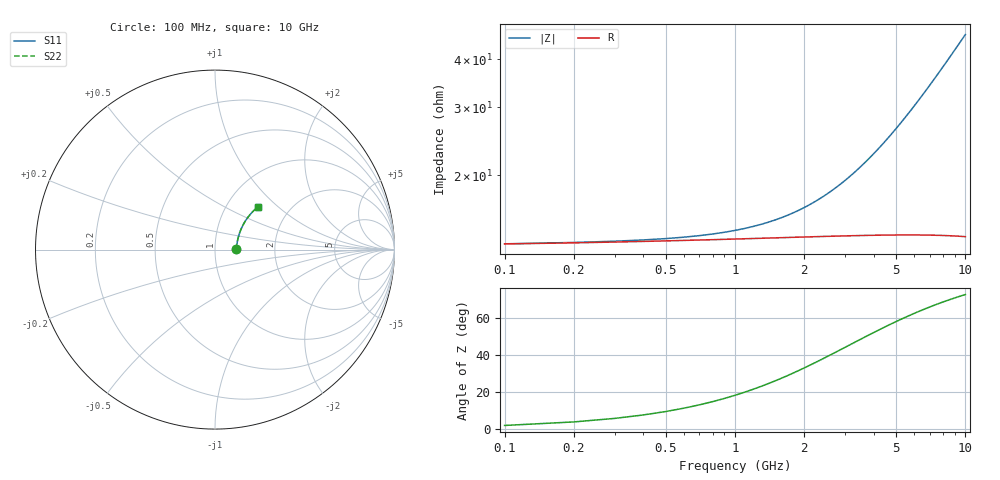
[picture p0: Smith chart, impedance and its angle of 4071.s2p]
# Hz S RI R 50.00
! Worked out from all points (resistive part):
!   100 points, 100 MHz to 10 GHz, reference 50 ohm
!   read as one part in series: R = 13.3 ohm at 100 MHz
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1e8  0.1173 0.00291  0.8827 -0.00409  0.8827 -0.00409  0.1173 0.00291
6e8  0.1199 0.0174  0.88 -0.0244  0.88 -0.0244  0.1199 0.0174
8e8  0.1208 0.0231  0.8791 -0.0325  0.8791 -0.0325  0.1208 0.0231
1e9  0.1217 0.0288  0.8782 -0.0406  0.8782 -0.0406  0.1217 0.0288
1.2e9  0.1226 0.0346  0.8772 -0.0486  0.8772 -0.0486  0.1226 0.0346
1.4e9  0.1236 0.0402  0.8762 -0.0566  0.8762 -0.0566  0.1236 0.0402
1.8e9  0.1259 0.0515  0.8739 -0.0726  0.8739 -0.0726  0.1259 0.0515
2.1e9  0.1278 0.0599  0.8719 -0.0846  0.8719 -0.0846  0.1278 0.0599
2.4e9  0.1298 0.0683  0.8697 -0.0964  0.8697 -0.0964  0.1298 0.0683
3.4e9  0.1382 0.0955  0.8609 -0.1354  0.8609 -0.1354  0.1382 0.0955
4.3e9  0.1476 0.1191  0.851 -0.1696  0.851 -0.1696  0.1476 0.1191
5.1e9  0.1574 0.1393  0.8406 -0.1991  0.8406 -0.1991  0.1574 0.1393
5.5e9  0.1628 0.149  0.8349 -0.2136  0.8349 -0.2136  0.1628 0.149
5.9e9  0.1685 0.1585  0.8289 -0.2278  0.8289 -0.2278  0.1685 0.1585
6.3e9  0.1746 0.1677  0.8225 -0.2417  0.8225 -0.2417  0.1746 0.1677
6.7e9  0.1809 0.1767  0.8158 -0.2554  0.8158 -0.2554  0.1809 0.1767
7.1e9  0.1874 0.1854  0.8088 -0.2688  0.8088 -0.2688  0.1874 0.1854
7.5e9  0.1943 0.1938  0.8016 -0.2819  0.8016 -0.2819  0.1943 0.1938
7.9e9  0.2013 0.2019  0.7941 -0.2948  0.7941 -0.2948  0.2013 0.2019
8.4e9  0.2105 0.2116  0.7843 -0.3104  0.7843 -0.3104  0.2105 0.2116
9.2e9  0.2258 0.2261  0.7679 -0.3345  0.7679 -0.3345  0.2258 0.2261
1e10  0.2419 0.2394  0.7507 -0.3572  0.7507 -0.3572  0.2419 0.2394
